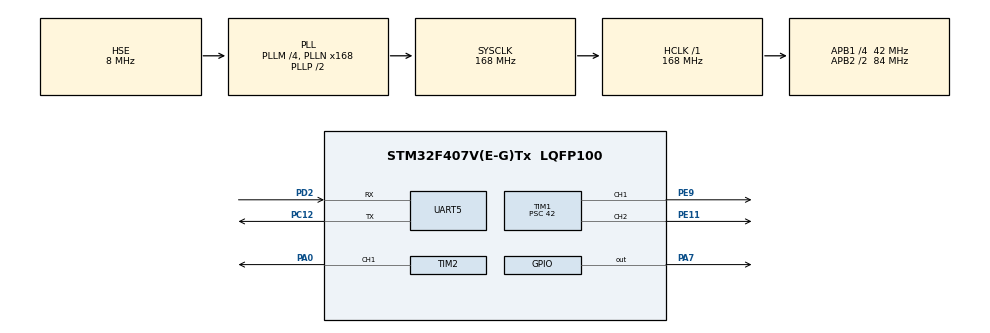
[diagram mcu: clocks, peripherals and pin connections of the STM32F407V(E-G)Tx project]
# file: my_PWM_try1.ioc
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Mcu.Family=STM32F4
Mcu.Name=STM32F407V(E-G)Tx
Mcu.Package=LQFP100
NVIC.PriorityGroup=NVIC_PRIORITYGROUP_4
NVIC.TIM1_BRK_TIM9_IRQn=true\:0\:0\:false\:false\:true\:true\:true\:true
NVIC.TIM1_CC_IRQn=true\:0\:0\:false\:false\:true\:true\:true\:true
NVIC.TIM1_TRG_COM_TIM11_IRQn=true\:0\:0\:false\:false\:true\:true\:true\:true
NVIC.TIM1_UP_TIM10_IRQn=true\:0\:0\:false\:false\:true\:true\:true\:true
NVIC.TIM2_IRQn=true\:0\:0\:false\:false\:true\:true\:true\:true
NVIC.UART5_IRQn=true\:0\:0\:false\:false\:true\:true\:true\:true
PA0-WKUP.Signal=S_TIM2_CH1_ETR
PA13.Mode=Serial_Wire
PA13.Signal=SYS_JTMS-SWDIO
PA14.Mode=Serial_Wire
PA14.Signal=SYS_JTCK-SWCLK
PA7.Signal=GPIO_Output
PC12.Mode=Asynchronous
PC12.Signal=UART5_TX
PC14-OSC32_IN.Mode=LSE-External-Oscillator
PC14-OSC32_IN.Signal=RCC_OSC32_IN
PC15-OSC32_OUT.Mode=LSE-External-Oscillator
PC15-OSC32_OUT.Signal=RCC_OSC32_OUT
PD2.Mode=Asynchronous
PD2.Signal=UART5_RX
PE11.Signal=S_TIM1_CH2
PE9.Signal=S_TIM1_CH1
PH0-OSC_IN.Mode=HSE-External-Oscillator
PH0-OSC_IN.Signal=RCC_OSC_IN
PH1-OSC_OUT.Mode=HSE-External-Oscillator
PH1-OSC_OUT.Signal=RCC_OSC_OUT
ProjectManager.HeapSize=0x200
ProjectManager.StackSize=0x400
ProjectManager.TargetToolchain=STM32CubeIDE
RCC.48MHZClocksFreq_Value=84000000
RCC.AHBFreq_Value=168000000
RCC.APB1CLKDivider=RCC_HCLK_DIV4
RCC.APB1Freq_Value=42000000
RCC.APB1TimFreq_Value=84000000
RCC.APB2CLKDivider=RCC_HCLK_DIV2
RCC.APB2Freq_Value=84000000
RCC.APB2TimFreq_Value=168000000
RCC.CortexFreq_Value=168000000
RCC.HCLKFreq_Value=168000000
RCC.HSE_VALUE=8000000
RCC.HSI_VALUE=16000000
RCC.PLLM=4
RCC.PLLN=168
RCC.PLLSourceVirtual=RCC_PLLSOURCE_HSE
RCC.SYSCLKFreq_VALUE=168000000
RCC.SYSCLKSource=RCC_SYSCLKSOURCE_PLLCLK
RCC.VCOOutputFreq_Value=336000000
SH.S_TIM1_CH1.0=TIM1_CH1,PWM Generation1 CH1
SH.S_TIM1_CH2.0=TIM1_CH2,PWM Generation2 CH2
SH.S_TIM2_CH1_ETR.0=TIM2_CH1,PWM Generation1 CH1
TIM1.Channel-PWM\ Generation1\ CH1=TIM_CHANNEL_1
TIM1.Channel-PWM\ Generation2\ CH2=TIM_CHANNEL_2
TIM1.Period=65535
TIM1.Prescaler=42
TIM2.Channel-PWM\ Generation1\ CH1=TIM_CHANNEL_1
TIM2.Period=65535
UART5.VirtualMode=Asynchronous
VP_TIM1_VS_ClockSourceINT.Mode=Internal
VP_TIM2_VS_ClockSourceINT.Mode=Internal
board=custom

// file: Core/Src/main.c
/* USER CODE BEGIN Header */
/**
  ******************************************************************************
  * @file           : main.c
  * @brief          : Main program body
  ******************************************************************************
  * @attention
  *
  * Copyright (c) 2024 STMicroelectronics.
  * All rights reserved.
  *
  * This software is licensed under terms that can be found in the LICENSE file
  * in the root directory of this software component.
  * If no LICENSE file comes with this software, it is provided AS-IS.
  *
  ******************************************************************************
  */
/* USER CODE END Header */
#include "main.h"
#include "tim.h"
#include "usart.h"
#include "gpio.h"

void SystemClock_Config(void);

/* USER CODE BEGIN 0 */
	unsigned long currentMillis=0;
	unsigned long lastBlink;

//
//	void blinkLed(){
//		if (currentMillis - lastBlink > 1000){
//			lastBlink=currentMillis;
//			HAL_GPIO_TogglePin(GPIOA, GPIO_PIN_7);
//		}
//	}

	void HAL_TIM_PeriodElapsedCallback(TIM_HandleTypeDef *htim)
	{
		if(htim->Instance == TIM1) //check if the interrupt comes from TIM1
		{
			HAL_GPIO_TogglePin(GPIOA, GPIO_PIN_7);
			//PWM_Init(&htim1, TIM_CHANNEL_1, 50000, 100, 1000);s
		}
	}

	uint32_t PCLK1TIM(TIM_HandleTypeDef *htim) {
		uint32_t timer_clock_freq;
		uint32_t ppre1;
		uint32_t ppre2;
		uint32_t apb1_prescaler;
		uint32_t apb2_prescaler;

	  if ((htim->Instance == TIM2) || (htim->Instance == TIM3) || (htim->Instance == TIM4) ||
	      (htim->Instance == TIM5) || (htim->Instance == TIM6) || (htim->Instance == TIM7) ||
	      (htim->Instance == TIM12) || (htim->Instance == TIM13) || (htim->Instance == TIM14)) {
		   timer_clock_freq = HAL_RCC_GetPCLK1Freq();
		   uint32_t ppre1;
		   uint32_t apb1_prescaler;
		   ppre1 = (RCC->CFGR & RCC_CFGR_PPRE1) >> RCC_CFGR_PPRE1_Pos;
		   uint32_t apb1 = RCC_CFGR_PPRE1;
		   uint32_t wtf1 =  RCC->CFGR;
		   switch (ppre1) {
		   		       case 0b000: // Дільник 1
		   		           apb1_prescaler = 1;
		   		           break;
		   		       case 0b100: // Дільник 2
		   		           apb1_prescaler = 2;
		   		           break;
		   		       case 0b101: // Дільник 4
		   		           apb1_prescaler = 4;
		   		           break;
		   		       case 0b110: // Дільник 8
		   		           apb1_prescaler = 8;
		   		           break;
		   		       case 0b111: // Дільник 16
		   		           apb1_prescaler = 16;
		   		           break;
		   		       default:
		   		           apb1_prescaler = 1; // За замовчуванням (повинно бути недосяжно)
		   		           break;
		   		   }
		   if (apb1_prescaler>1) {
			   timer_clock_freq = 2 * timer_clock_freq;
		   }
		   return timer_clock_freq;
		   //uint32_t ppre1 = (RCC->CFGR & RCC_CFGR_PPRE1) >> RCC_CFGR_PPRE1_Pos;
	  }
	  // Перевіримо, чи таймер знаходиться на APB2
	  else if ((htim->Instance == TIM1) || (htim->Instance == TIM8) || (htim->Instance == TIM9) ||
	           (htim->Instance == TIM10) || (htim->Instance == TIM11)) {
	       timer_clock_freq = HAL_RCC_GetPCLK2Freq();
	       // Витягуємо значення дільника APB2 з регістра RCC->CFGR
	       ppre2 = (RCC->CFGR & RCC_CFGR_PPRE2) >> RCC_CFGR_PPRE2_Pos;
		   switch (ppre2) {
		   	           case 0b000: // Дільник 1
		   	               apb2_prescaler = 1;
		   	               break;
		   	           case 0b100: // Дільник 2
		   	               apb2_prescaler = 2;
		   	               break;
		   	           case 0b101: // Дільник 4
		   	               apb2_prescaler = 4;
		   	               break;
		   	           case 0b110: // Дільник 8
		   	               apb2_prescaler = 8;
		   	               break;
		   	           case 0b111: // Дільник 16
		   	               apb2_prescaler = 16;
		   	               break;
		   	           default:
		   	               apb2_prescaler = 1; // За замовчуванням (повинно бути недосяжно)
		   	               break;
		   	       }
	       uint32_t apb2 = RCC_CFGR_PPRE2;
	       uint32_t wtf2 =  RCC->CFGR;
	       if (apb2_prescaler>1) {
	    	   timer_clock_freq = 2 * timer_clock_freq;
		   }
		  return timer_clock_freq;
	  }
	}

	void PWM_Init(TIM_HandleTypeDef *htim, uint32_t channel, uint16_t target_frequency, uint8_t duty_cycle) {
		uint32_t timer_clock_freq = PCLK1TIM(htim);
		uint16_t prescaler = 1;
		uint32_t period = (timer_clock_freq / target_frequency);
		if ( period > 65535 ) {
			prescaler = (period / 65536)+2;
			period = (period/prescaler);
		}
		uint16_t pulse_length_ticks = period * duty_cycle / 100;
		__HAL_TIM_SET_PRESCALER(htim, prescaler-1);
		__HAL_TIM_SET_COMPARE(htim, channel, pulse_length_ticks);
		__HAL_TIM_SET_AUTORELOAD(htim, (uint16_t)period -1);
		HAL_TIM_Base_Start_IT(htim);
		HAL_TIM_PWM_Start(htim, channel);
	}

/* USER CODE END 0 */

int main(void)
{

  /* MCU Configuration--------------------------------------------------------*/

  /* Reset of all peripherals, Initializes the Flash interface and the Systick. */
  HAL_Init();

  /* Configure the system clock */
  SystemClock_Config();

  /* Initialize all configured peripherals */
  MX_GPIO_Init();
  MX_TIM1_Init();
  MX_TIM2_Init();
  MX_UART5_Init();
  /* USER CODE BEGIN 2 */

  HAL_TIM_Base_Start_IT(&htim1);                                     // <<<<<<<<<< запустить таймер у режимі переривання:
  HAL_TIM_Base_Start_IT(&htim2);
  //PWM_Init(&htim1, TIM_CHANNEL_1, 1, 10);

  /* USER CODE END 2 */

  /* Infinite loop */
  while (1)
  {

    /* USER CODE BEGIN 3 */

	  currentMillis = HAL_GetTick();

//	  PWM_Init(&htim1, TIM_CHANNEL_1, 1000, 50);
//	  HAL_Delay(1000);
//	  PWM_Init(&htim1, TIM_CHANNEL_1, 1000, 90);
//	  HAL_Delay(1000);
	  PWM_Init(&htim1, TIM_CHANNEL_1, 50000, 25);  // PE9
	  PWM_Init(&htim2, TIM_CHANNEL_1, 2, 60);  // PA0
	  HAL_Delay(1000);
	  //blinkLed();

  }
  /* USER CODE END 3 */
}

void SystemClock_Config(void)
{
  RCC_OscInitTypeDef RCC_OscInitStruct = {0};
  RCC_ClkInitTypeDef RCC_ClkInitStruct = {0};

  /** Configure the main internal regulator output voltage
  */
  __HAL_RCC_PWR_CLK_ENABLE();
  __HAL_PWR_VOLTAGESCALING_CONFIG(PWR_REGULATOR_VOLTAGE_SCALE1);

  /** Initializes the RCC Oscillators according to the specified parameters
  * in the RCC_OscInitTypeDef structure.
  */
  RCC_OscInitStruct.OscillatorType = RCC_OSCILLATORTYPE_HSE;
  RCC_OscInitStruct.HSEState = RCC_HSE_ON;
  RCC_OscInitStruct.PLL.PLLState = RCC_PLL_ON;
  RCC_OscInitStruct.PLL.PLLSource = RCC_PLLSOURCE_HSE;
  RCC_OscInitStruct.PLL.PLLM = 4;
  RCC_OscInitStruct.PLL.PLLN = 168;
  RCC_OscInitStruct.PLL.PLLP = RCC_PLLP_DIV2;
  RCC_OscInitStruct.PLL.PLLQ = 4;
  if (HAL_RCC_OscConfig(&RCC_OscInitStruct) != HAL_OK)
  {
    Error_Handler();
  }

  /** Initializes the CPU, AHB and APB buses clocks
  */
  RCC_ClkInitStruct.ClockType = RCC_CLOCKTYPE_HCLK|RCC_CLOCKTYPE_SYSCLK
                              |RCC_CLOCKTYPE_PCLK1|RCC_CLOCKTYPE_PCLK2;
  RCC_ClkInitStruct.SYSCLKSource = RCC_SYSCLKSOURCE_PLLCLK;
  RCC_ClkInitStruct.AHBCLKDivider = RCC_SYSCLK_DIV1;
  RCC_ClkInitStruct.APB1CLKDivider = RCC_HCLK_DIV4;
  RCC_ClkInitStruct.APB2CLKDivider = RCC_HCLK_DIV2;

  if (HAL_RCC_ClockConfig(&RCC_ClkInitStruct, FLASH_LATENCY_5) != HAL_OK)
  {
    Error_Handler();
  }
}

void Error_Handler(void)
{
  __disable_irq();
  while (1)
  {
  }
}
